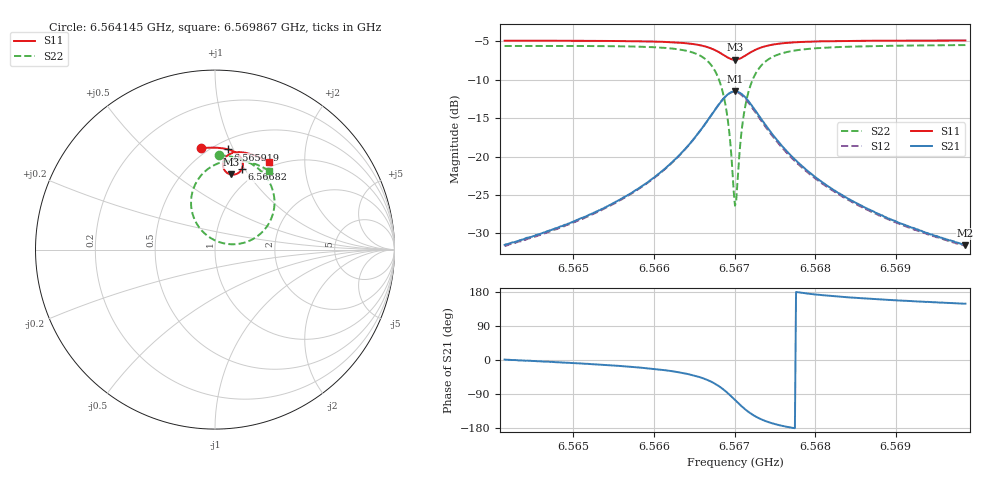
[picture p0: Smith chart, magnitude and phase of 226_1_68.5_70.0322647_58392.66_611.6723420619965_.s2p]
#  HZ  S  RI  R  50.00
! Rohde & Schwarz Vector Network Analyzer
! Rohde-Schwarz,ZNB20-2Port,1311601062101988,3.16
! Created: UTC 3/20/2024, 4:58:44 PM
! freq[Hz]  re:S11  im:S11  re:S21  im:S21  re:S12  im:S12  re:S22  im:S22
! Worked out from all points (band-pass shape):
!   401 points, 6.564145 GHz to 6.569867 GHz, reference 50 ohm
!   highest |S21| = -11.49 dB at 6.567006 GHz (marker M1); lowest = -31.5 dB at 6.569867 GHz (marker M2)
!   |S21| within 3 dB of the highest: 6.566719 GHz to 6.567292 GHz (572.7 kHz wide, 0.00872 % of centre)
!   lowest |S11| = -7.4 dB at 6.567006 GHz (marker M3), VSWR 2.49, Z = 40.5 + j41.5 ohm
!   |S11| at or under -10 dB: nowhere
!   |S22| runs from -26.4 to -5.5 dB; largest |S21 - S12| = 0.012
!   S11 on the Smith chart (normalised r, x): 6.564145 GHz: 0.46, +0.76; 6.565919 GHz: 0.58, +0.95; 6.56682 GHz: 0.84, +0.97; 6.569867 GHz: 0.93, +1.34
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6.5641449e9  -0.0789 0.5637  0.0266 0.000545  0.0262 -0.000111  0.0202 0.525
6.5651033e9  -0.0013 0.5681  0.0393 -0.00642  0.0385 -0.00699  0.1087 0.5141
6.5659187e9  0.0727 0.5582  0.063 -0.0251  0.062 -0.026  0.2081 0.4745
6.5660617e9  0.0875 0.5535  0.0701 -0.0329  0.0691 -0.0337  0.2307 0.4591
6.5663764e9  0.1225 0.5353  0.0904 -0.0635  0.0888 -0.0648  0.2892 0.3985
6.566591e9  0.1468 0.5082  0.1037 -0.1107  0.1013 -0.1128  0.3274 0.3075
6.5667198e9  0.1555 0.4796  0.0991 -0.1606  0.0951 -0.1636  0.3259 0.2122
6.5668199e9  0.1501 0.4501  0.0725 -0.2115  0.0659 -0.2145  0.2799 0.1164
6.5669057e9  0.1291 0.4261  0.0199 -0.2506  0.0102 -0.2513  0.1842 0.0458
6.5669343e9  0.1185 0.4208  -0.00414 -0.2584  -0.0147 -0.2576  0.1407 0.0332
6.5669916e9  0.0938 0.4176  -0.0576 -0.2597  -0.0685 -0.255  0.0458 0.0354
6.5670059e9  0.0875 0.4186  -0.071 -0.2566  -0.0816 -0.2511  0.0224 0.0423
6.5670345e9  0.0756 0.4227  -0.0964 -0.2467  -0.1064 -0.2393  -0.0212 0.0627
6.5670917e9  0.0563 0.4379  -0.1379 -0.2145  -0.1448 -0.2046  -0.0889 0.1245
6.5671346e9  0.0477 0.4529  -0.1581 -0.1845  -0.1622 -0.174  -0.1186 0.1796
6.5671918e9  0.0439 0.4731  -0.1705 -0.1442  -0.1719 -0.1341  -0.1334 0.251
6.5672633e9  0.0479 0.4952  -0.1702 -0.1011  -0.1692 -0.0926  -0.1247 0.3257
6.5675208e9  0.0869 0.5344  -0.1276 -0.022  -0.1249 -0.0184  -0.0279 0.4571
6.5679643e9  0.1452 0.5425  -0.0757 0.00809  -0.0741 0.00922  0.0932 0.4972
6.5683791e9  0.1865 0.5354  -0.0528 0.0134  -0.0516 0.0138  0.1606 0.4938
6.5689227e9  0.2321 0.52  -0.0366 0.0145  -0.0359 0.0148  0.2226 0.4774
6.5698668e9  0.3007 0.4855  -0.0226 0.0137  -0.022 0.0139  0.3021 0.439
